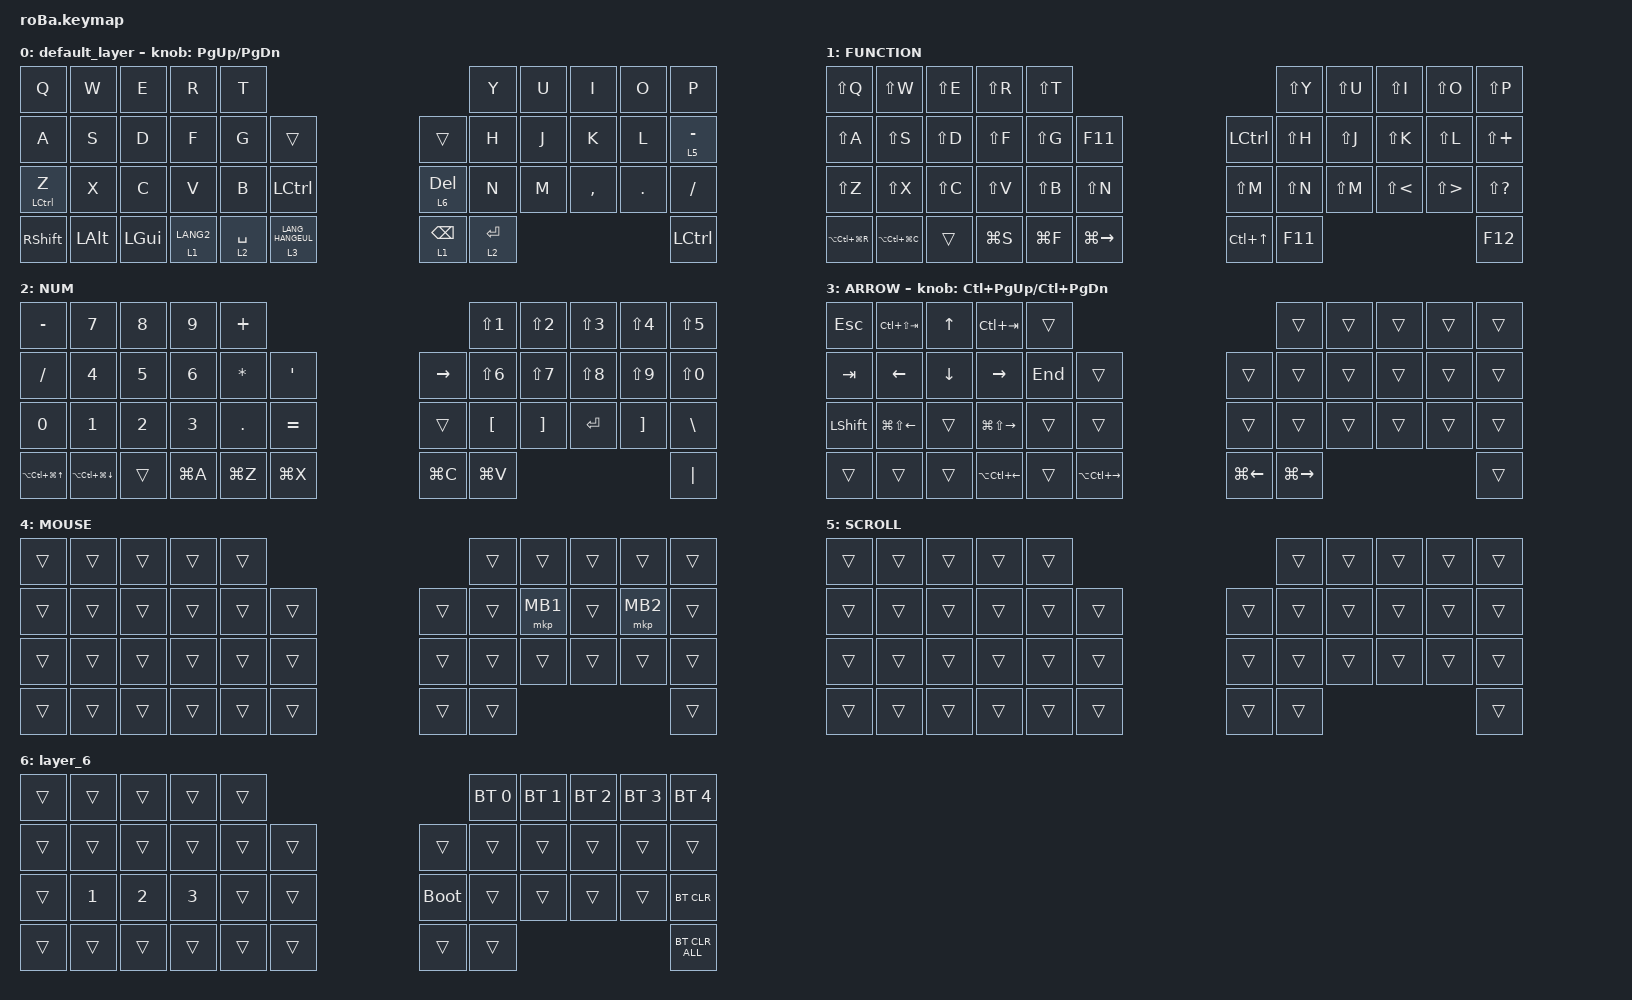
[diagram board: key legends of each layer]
#include <behaviors.dtsi>
#include <dt-bindings/zmk/bt.h>
#include <dt-bindings/zmk/keys.h>
#include <dt-bindings/zmk/pointing.h>

#define MOUSE 4
#define SCROLL 5
#define NUM 6

&mt {
    flavor = "balanced";
    quick-tap-ms = <0>;
};

/ {
    combos {
        compatible = "zmk,combos";

        tab {
            bindings = <&kp TAB>;
            key-positions = <11 12>;
        };

        shift_tab {
            bindings = <&kp LS(TAB)>;
            key-positions = <12 13>;
        };

        muhennkann {
            bindings = <&to_layer_0 INT_MUHENKAN>;
            key-positions = <11 10>;
        };

        double_quotation {
            bindings = <&kp DOUBLE_QUOTES>;
            key-positions = <20 21>;
        };

        eq {
            bindings = <&kp EQUAL>;
            key-positions = <24 25>;
        };
    };

    macros {
        to_layer_0: to_layer_0 {
            compatible = "zmk,behavior-macro-one-param";
            #binding-cells = <1>;
            bindings = <&to 0 &macro_param_1to1 &kp MACRO_PLACEHOLDER>;
            label = "TO_LAYER_0";
        };
    };

    behaviors {
        lt_to_layer_0: lt_to_layer_0 {
            compatible = "zmk,behavior-hold-tap";
            label = "LAYER_TAP_TO_0";
            bindings = <&mo>, <&to_layer_0>;

            #binding-cells = <2>;
            tapping-term-ms = <250>;
            flavor = "balanced";
        };
    };

    keymap {
        compatible = "zmk,keymap";

        default_layer {
            bindings = <
&kp Q            &kp W     &kp E     &kp R                   &kp T                                                            &kp Y        &kp U  &kp I      &kp O    &kp P
&kp A            &kp S     &kp D     &kp F                   &kp G        &trans                             &trans           &kp H        &kp J  &kp K      &kp L    &lt 5 MINUS
&mt LCTRL Z      &kp X     &kp C     &kp V                   &kp B        &kp LEFT_CONTROL                   &lt 6 DELETE     &kp N        &kp M  &kp COMMA  &kp DOT  &kp FSLH
&kp RIGHT_SHIFT  &kp LALT  &kp LGUI  &lt_to_layer_0 1 LANG2  &lt 2 SPACE  &lt_to_layer_0 3 LANG_HANGEUL      &lt 1 BACKSPACE  &lt 2 ENTER                             &kp LEFT_CONTROL
            >;

            sensor-bindings = <&inc_dec_kp PG_UP PAGE_DOWN>;
        };

        FUNCTION {
            bindings = <
&kp LS(Q)          &kp LS(W)          &kp LS(E)  &kp LS(R)  &kp LS(T)                                             &kp LS(Y)  &kp LS(U)  &kp LS(I)   &kp LS(O)   &kp LS(P)
&kp LS(A)          &kp LS(S)          &kp LS(D)  &kp LS(F)  &kp LS(G)  &kp F11                  &kp LCTRL         &kp LS(H)  &kp LS(J)  &kp LS(K)   &kp LS(L)   &kp LS(PLUS)
&kp LS(Z)          &kp LS(X)          &kp LS(C)  &kp LS(V)  &kp LS(B)  &kp LS(N)                &kp LS(M)         &kp LS(N)  &kp LS(M)  &kp LS(LT)  &kp LS(GT)  &kp LS(QMARK)
&kp LA(LC(LG(R)))  &kp LA(LC(LG(C)))  &trans     &kp LG(S)  &kp LG(F)  &kp LG(RIGHT_ARROW)      &kp LC(UP_ARROW)  &kp F11                                       &kp F12
            >;
        };

        NUM {
            bindings = <
&kp MINUS                 &kp N7                      &kp N8  &kp N9     &kp PLUS                                       &kp LS(NUMBER_1)  &kp LS(NUMBER_2)  &kp LS(NUMBER_3)  &kp LS(NUMBER_4)   &kp LS(N5)
&kp FSLH                  &kp N4                      &kp N5  &kp N6     &kp ASTERISK  &kp SINGLE_QUOTE      &kp RIGHT  &kp LS(NUMBER_6)  &kp LS(N7)        &kp LS(N8)        &kp LS(N9)         &kp LS(N0)
&kp N0                    &kp N1                      &kp N2  &kp N3     &kp PERIOD    &kp EQUAL             &trans     &kp LBKT          &kp RBKT          &kp ENTER         &kp RIGHT_BRACKET  &kp BACKSLASH
&kp LA(LC(LG(UP_ARROW)))  &kp LA(LC(LG(DOWN_ARROW)))  &trans  &kp LG(A)  &kp LG(Z)     &kp LG(X)             &kp LG(C)  &kp LG(V)                                                                &kp PIPE
            >;
        };

        ARROW {
            bindings = <
&kp ESCAPE      &kp LC(LS(TAB))         &kp UP_ARROW    &kp LC(TAB)              &trans                                                    &trans               &trans  &trans  &trans  &trans
&kp TAB         &kp LEFT_ARROW          &kp DOWN_ARROW  &kp RIGHT_ARROW          &kp END  &trans                       &trans              &trans               &trans  &trans  &trans  &trans
&kp LEFT_SHIFT  &kp LG(LS(LEFT_ARROW))  &trans          &kp LG(LS(RIGHT_ARROW))  &trans   &trans                       &trans              &trans               &trans  &trans  &trans  &trans
&trans          &trans                  &trans          &kp LA(LC(LEFT_ARROW))   &trans   &kp LA(LC(RIGHT_ARROW))      &kp LG(LEFT_ARROW)  &kp LG(RIGHT_ARROW)                          &trans
            >;

            sensor-bindings = <&inc_dec_kp LC(PAGE_UP) LC(PAGE_DOWN)>;
        };

        MOUSE {
            bindings = <
&trans  &trans  &trans  &trans  &trans                      &trans  &trans    &trans  &trans    &trans
&trans  &trans  &trans  &trans  &trans  &trans      &trans  &trans  &mkp MB1  &trans  &mkp MB2  &trans
&trans  &trans  &trans  &trans  &trans  &trans      &trans  &trans  &trans    &trans  &trans    &trans
&trans  &trans  &trans  &trans  &trans  &trans      &trans  &trans                              &trans
            >;
        };

        SCROLL {
            bindings = <
&trans  &trans  &trans  &trans  &trans                      &trans  &trans  &trans  &trans  &trans
&trans  &trans  &trans  &trans  &trans  &trans      &trans  &trans  &trans  &trans  &trans  &trans
&trans  &trans  &trans  &trans  &trans  &trans      &trans  &trans  &trans  &trans  &trans  &trans
&trans  &trans  &trans  &trans  &trans  &trans      &trans  &trans                          &trans
            >;
        };

        layer_6 {
            bindings = <
&trans  &trans        &trans        &trans        &trans                           &bt BT_SEL 0  &bt BT_SEL 1  &bt BT_SEL 2  &bt BT_SEL 3  &bt BT_SEL 4
&trans  &trans        &trans        &trans        &trans  &trans      &trans       &trans        &trans        &trans        &trans        &trans
&trans  &kp NUMBER_1  &kp NUMBER_2  &kp NUMBER_3  &trans  &trans      &bootloader  &trans        &trans        &trans        &trans        &bt BT_CLR
&trans  &trans        &trans        &trans        &trans  &trans      &trans       &trans                                                  &bt BT_CLR_ALL
            >;
        };
    };
};
